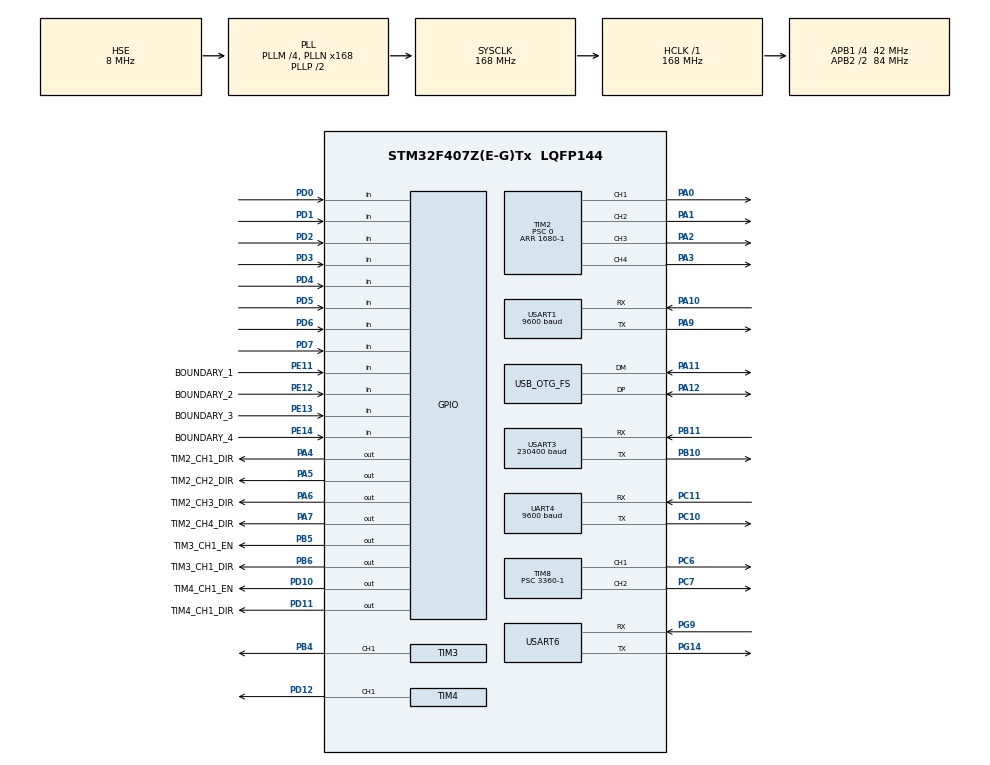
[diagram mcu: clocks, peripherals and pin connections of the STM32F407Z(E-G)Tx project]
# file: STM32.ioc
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Dma.Request0=USART3_RX
Dma.Request1=UART4_RX
Dma.UART4_RX.1.Direction=DMA_PERIPH_TO_MEMORY
Dma.UART4_RX.1.FIFOMode=DMA_FIFOMODE_DISABLE
Dma.UART4_RX.1.Instance=DMA1_Stream2
Dma.UART4_RX.1.MemDataAlignment=DMA_MDATAALIGN_BYTE
Dma.UART4_RX.1.MemInc=DMA_MINC_ENABLE
Dma.UART4_RX.1.Mode=DMA_NORMAL
Dma.UART4_RX.1.PeriphDataAlignment=DMA_PDATAALIGN_BYTE
Dma.UART4_RX.1.PeriphInc=DMA_PINC_DISABLE
Dma.UART4_RX.1.Priority=DMA_PRIORITY_LOW
Dma.USART3_RX.0.Direction=DMA_PERIPH_TO_MEMORY
Dma.USART3_RX.0.FIFOMode=DMA_FIFOMODE_DISABLE
Dma.USART3_RX.0.Instance=DMA1_Stream1
Dma.USART3_RX.0.MemDataAlignment=DMA_MDATAALIGN_BYTE
Dma.USART3_RX.0.MemInc=DMA_MINC_ENABLE
Dma.USART3_RX.0.Mode=DMA_NORMAL
Dma.USART3_RX.0.PeriphDataAlignment=DMA_PDATAALIGN_BYTE
Dma.USART3_RX.0.PeriphInc=DMA_PINC_DISABLE
Dma.USART3_RX.0.Priority=DMA_PRIORITY_LOW
FREERTOS.Tasks01=uartRxTask,40,1024,appUartRxTask,Default,NULL,Dynamic,NULL,NULL;uartTxTask,40,1024,appUartTxTask,Default,NULL,Dynamic,NULL,NULL;cmdHandleTask,24,1024,appCmdHandleTask,Default,NULL,Dynamic,NULL,NULL;statusTask,8,1024,appStatusTask,Default,NULL,Dynamic,NULL,NULL;sensorUploadTas,16,1024,appSensorUploadTask,Default,NULL,Dynamic,NULL,NULL
FREERTOS.configTOTAL_HEAP_SIZE=30000
FREERTOS.configUSE_MALLOC_FAILED_HOOK=1
FREERTOS.configUSE_STATS_FORMATTING_FUNCTIONS=1
Mcu.Family=STM32F4
Mcu.Name=STM32F407Z(E-G)Tx
Mcu.Package=LQFP144
NVIC.DMA1_Stream1_IRQn=true\:5\:0\:false\:false\:true\:true\:false\:true\:true
NVIC.DMA1_Stream2_IRQn=true\:5\:0\:false\:false\:true\:true\:false\:true\:true
NVIC.OTG_FS_IRQn=true\:5\:0\:false\:false\:true\:true\:false\:true\:true
NVIC.PriorityGroup=NVIC_PRIORITYGROUP_4
NVIC.TIM6_DAC_IRQn=true\:15\:0\:false\:false\:true\:false\:false\:true\:true
NVIC.TimeBase=TIM6_DAC_IRQn
NVIC.TimeBaseIP=TIM6
NVIC.UART4_IRQn=true\:5\:0\:false\:false\:true\:true\:true\:true\:true
NVIC.USART3_IRQn=true\:5\:0\:false\:false\:true\:true\:true\:true\:true
PA0-WKUP.Signal=S_TIM2_CH1_ETR
PA1.Signal=S_TIM2_CH2
PA10.Mode=Asynchronous
PA10.Signal=USART1_RX
PA11.Mode=Device_Only
PA11.Signal=USB_OTG_FS_DM
PA12.Mode=Device_Only
PA12.Signal=USB_OTG_FS_DP
PA13.Mode=Serial_Wire
PA13.Signal=SYS_JTMS-SWDIO
PA14.Mode=Serial_Wire
PA14.Signal=SYS_JTCK-SWCLK
PA2.Signal=S_TIM2_CH3
PA3.Signal=S_TIM2_CH4
PA4.GPIO_Label=TIM2_CH1_DIR
PA4.Signal=GPIO_Output
PA5.GPIO_Label=TIM2_CH2_DIR
PA5.Signal=GPIO_Output
PA6.GPIO_Label=TIM2_CH3_DIR
PA6.Signal=GPIO_Output
PA7.GPIO_Label=TIM2_CH4_DIR
PA7.Signal=GPIO_Output
PA9.Mode=Asynchronous
PA9.Signal=USART1_TX
PB10.Mode=Asynchronous
PB10.Signal=USART3_TX
PB11.Mode=Asynchronous
PB11.Signal=USART3_RX
PB4.Signal=S_TIM3_CH1
PB5.GPIO_Label=TIM3_CH1_EN
PB5.Signal=GPIO_Output
PB6.GPIO_Label=TIM3_CH1_DIR
PB6.Signal=GPIO_Output
PC10.Mode=Asynchronous
PC10.Signal=UART4_TX
PC11.Mode=Asynchronous
PC11.Signal=UART4_RX
PC14-OSC32_IN.Mode=LSE-External-Oscillator
PC14-OSC32_IN.Signal=RCC_OSC32_IN
PC15-OSC32_OUT.Mode=LSE-External-Oscillator
PC15-OSC32_OUT.Signal=RCC_OSC32_OUT
PC6.Signal=S_TIM8_CH1
PC7.Signal=S_TIM8_CH2
PD0.Signal=GPIO_Input
PD1.Signal=GPIO_Input
PD10.GPIO_Label=TIM4_CH1_EN
PD10.Signal=GPIO_Output
PD11.GPIO_Label=TIM4_CH1_DIR
PD11.Signal=GPIO_Output
PD12.Signal=S_TIM4_CH1
PD2.Signal=GPIO_Input
PD3.Signal=GPIO_Input
PD4.Signal=GPIO_Input
PD5.Signal=GPIO_Input
PD6.Signal=GPIO_Input
PD7.Signal=GPIO_Input
PE11.GPIO_Label=BOUNDARY_1
PE11.Signal=GPIO_Input
PE12.GPIO_Label=BOUNDARY_2
PE12.Signal=GPIO_Input
PE13.GPIO_Label=BOUNDARY_3
PE13.Signal=GPIO_Input
PE14.GPIO_Label=BOUNDARY_4
PE14.Signal=GPIO_Input
PG14.Mode=Asynchronous
PG14.Signal=USART6_TX
PG9.Mode=Asynchronous
PG9.Signal=USART6_RX
PH0-OSC_IN.Mode=HSE-External-Oscillator
PH0-OSC_IN.Signal=RCC_OSC_IN
PH1-OSC_OUT.Mode=HSE-External-Oscillator
PH1-OSC_OUT.Signal=RCC_OSC_OUT
ProjectManager.HeapSize=0x200
ProjectManager.StackSize=0x400
ProjectManager.TargetToolchain=CMake
RCC.48MHZClocksFreq_Value=48000000
RCC.AHBFreq_Value=168000000
RCC.APB1CLKDivider=RCC_HCLK_DIV4
RCC.APB1Freq_Value=42000000
RCC.APB1TimFreq_Value=84000000
RCC.APB2CLKDivider=RCC_HCLK_DIV2
RCC.APB2Freq_Value=84000000
RCC.APB2TimFreq_Value=168000000
RCC.CortexFreq_Value=168000000
RCC.HCLKFreq_Value=168000000
RCC.HSE_VALUE=8000000
RCC.HSI_VALUE=16000000
RCC.PLLM=4
RCC.PLLN=168
RCC.PLLQ=7
RCC.SYSCLKFreq_VALUE=168000000
RCC.SYSCLKSource=RCC_SYSCLKSOURCE_PLLCLK
RCC.VCOOutputFreq_Value=336000000
SH.S_TIM2_CH1_ETR.0=TIM2_CH1,PWM Generation1 CH1
SH.S_TIM2_CH2.0=TIM2_CH2,PWM Generation2 CH2
SH.S_TIM2_CH3.0=TIM2_CH3,PWM Generation3 CH3
SH.S_TIM2_CH4.0=TIM2_CH4,PWM Generation4 CH4
SH.S_TIM3_CH1.0=TIM3_CH1,PWM Generation1 CH1
SH.S_TIM4_CH1.0=TIM4_CH1,PWM Generation1 CH1
SH.S_TIM8_CH1.0=TIM8_CH1,PWM Generation1 CH1
SH.S_TIM8_CH2.0=TIM8_CH2,PWM Generation2 CH2
TIM2.Channel-PWM\ Generation1\ CH1=TIM_CHANNEL_1
TIM2.Channel-PWM\ Generation2\ CH2=TIM_CHANNEL_2
TIM2.Channel-PWM\ Generation3\ CH3=TIM_CHANNEL_3
TIM2.Channel-PWM\ Generation4\ CH4=TIM_CHANNEL_4
TIM2.Period=1680-1
TIM2.Prescaler=0
TIM3.Channel-PWM\ Generation1\ CH1=TIM_CHANNEL_1
TIM3.Period=16800-1
TIM3.Prescaler=0
TIM3.Pulse-PWM\ Generation1\ CH1=8400
TIM4.Channel-PWM\ Generation1\ CH1=TIM_CHANNEL_1
TIM4.Period=16800-1
TIM4.Prescaler=0
TIM4.Pulse-PWM\ Generation1\ CH1=8400
TIM8.Channel-PWM\ Generation1\ CH1=TIM_CHANNEL_1
TIM8.Channel-PWM\ Generation2\ CH2=TIM_CHANNEL_2
TIM8.Period=1000-1
TIM8.Prescaler=3360-1
UART4.BaudRate=9600
UART4.VirtualMode=Asynchronous
USART1.BaudRate=9600
USART1.VirtualMode=VM_ASYNC
USART3.BaudRate=230400
USART3.VirtualMode=VM_ASYNC
USART6.VirtualMode=VM_ASYNC
USB_DEVICE.CLASS_NAME_FS=CDC
USB_DEVICE.VirtualMode-CDC_FS=Cdc
USB_DEVICE.VirtualModeFS=Cdc_FS
USB_OTG_FS.VirtualMode=Device_Only
VP_FREERTOS_VS_CMSIS_V2.Mode=CMSIS_V2
VP_SYS_VS_tim6.Mode=TIM6
VP_TIM2_VS_ClockSourceINT.Mode=Internal
VP_TIM3_VS_ClockSourceINT.Mode=Internal
VP_TIM4_VS_ClockSourceINT.Mode=Internal
VP_TIM8_VS_ClockSourceINT.Mode=Internal
VP_USB_DEVICE_VS_USB_DEVICE_CDC_FS.Mode=CDC_FS
board=custom

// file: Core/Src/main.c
/* USER CODE BEGIN Header */
/**
  ******************************************************************************
  * @file           : main.c
  * @brief          : Main program body
  ******************************************************************************
  * @attention
  *
  * Copyright (c) 2026 STMicroelectronics.
  * All rights reserved.
  *
  * This software is licensed under terms that can be found in the LICENSE file
  * in the root directory of this software component.
  * If no LICENSE file comes with this software, it is provided AS-IS.
  *
  ******************************************************************************
  */
/* USER CODE END Header */
#include "main.h"
#include "cmsis_os.h"
#include "dma.h"
#include "tim.h"
#include "usart.h"
#include "usb_device.h"
#include "gpio.h"

/* USER CODE BEGIN Includes */
#include "motor.h"
#include "safety_edge.h"
#include "proximity_switch.h"
#include <stdint.h>
#include <stdio.h>
#include "pressure_sensor.h"
#include "usbd_cdc_if.h"
#include "motor_brush.h"
/* USER CODE END Includes */

void SystemClock_Config(void);
void MX_FREERTOS_Init(void);
/* USER CODE BEGIN PFP */
void app_on_cdc_frame_timeout_isr(void);

/* USER CODE END PFP */

int main(void)
{

  /* MCU Configuration--------------------------------------------------------*/

  /* Reset of all peripherals, Initializes the Flash interface and the Systick. */
  HAL_Init();

  /* Configure the system clock */
  SystemClock_Config();

  /* Initialize all configured peripherals */
  MX_GPIO_Init();
  MX_DMA_Init();
  MX_TIM2_Init();
  MX_TIM8_Init();
  MX_TIM3_Init();
  MX_TIM4_Init();
  MX_USART1_UART_Init();
  MX_USART3_UART_Init();
  MX_UART4_Init();
  MX_USART6_UART_Init();
  /* USER CODE BEGIN 2 */
  Motor_BrushStart(0.0f);

  /* USER CODE END 2 */

  /* Init scheduler */
  osKernelInitialize();  /* Call init function for freertos objects (in cmsis_os2.c) */
  MX_FREERTOS_Init();

  /* Start scheduler */
  osKernelStart();

  /* We should never get here as control is now taken by the scheduler */

  /* Infinite loop */
  /* USER CODE BEGIN WHILE */
  while (1)
  {
    // if(1)
    // {
    //     uint8_t edge_states = SafetyEdge_ReadAll();
    //     uint8_t proximity_states = ProximitySwitch_ReadAll();
    //     int32_t weight = 0;
    //     PressureSensor_ReadWeight(&weight);

    //     sprintf(buffer, "Edge states: %02X, Proximity states: %02X, Weight: %ld\n", edge_states, proximity_states, weight);
    //     HAL_UART_Transmit(&huart3, (uint8_t *)buffer, (uint16_t)strlen(buffer), HAL_MAX_DELAY);
    //     HAL_Delay(1000);
    // }

    // if(1)
    // {
    //   // 机体移动
    //   Motor_MoveUp(0.8);
    //   HAL_Delay(1000);
    //   Motor_MoveDown(0.8);
    //   HAL_Delay(1000);
    //   Motor_MoveLeft(0.8);
    //   HAL_Delay(1000);
    //   Motor_MoveRight(0.8);
    //   HAL_Delay(1000);
    //   Motor_StopMove();
    //   HAL_Delay(1000);
    // }
    // if(1)
    // {
    //   // 履带升出/下降执行机构
    //   Motor_CrawlerLiftUp(0.8);
    //   HAL_Delay(1000);
    //   Motor_CrawlerLiftDown(0.8);
    //   HAL_Delay(1000);

    // }

    // if(1)
    // {
    //   // 球头锁定执行机构
    //   Motor_BallHeadLock( 0.8);
    //   HAL_Delay(1000);
    //   Motor_BallHeadLock( 0.8);
    //   HAL_Delay(1000);
    //   Motor_BallHeadStop();
    //   HAL_Delay(1000);
    // }

    // if(1)
    // {
    //   // 滚刷
    //   Motor_BrushStart(0.8);
    //   HAL_Delay(1000);
    //   Motor_BrushStop();
    //   HAL_Delay(1000);
    // }

    /* USER CODE END WHILE */

  }
}

void SystemClock_Config(void)
{
  RCC_OscInitTypeDef RCC_OscInitStruct = {0};
  RCC_ClkInitTypeDef RCC_ClkInitStruct = {0};

  /** Configure the main internal regulator output voltage
  */
  __HAL_RCC_PWR_CLK_ENABLE();
  __HAL_PWR_VOLTAGESCALING_CONFIG(PWR_REGULATOR_VOLTAGE_SCALE1);

  /** Initializes the RCC Oscillators according to the specified parameters
  * in the RCC_OscInitTypeDef structure.
  */
  RCC_OscInitStruct.OscillatorType = RCC_OSCILLATORTYPE_HSE;
  RCC_OscInitStruct.HSEState = RCC_HSE_ON;
  RCC_OscInitStruct.PLL.PLLState = RCC_PLL_ON;
  RCC_OscInitStruct.PLL.PLLSource = RCC_PLLSOURCE_HSE;
  RCC_OscInitStruct.PLL.PLLM = 4;
  RCC_OscInitStruct.PLL.PLLN = 168;
  RCC_OscInitStruct.PLL.PLLP = RCC_PLLP_DIV2;
  RCC_OscInitStruct.PLL.PLLQ = 7;
  if (HAL_RCC_OscConfig(&RCC_OscInitStruct) != HAL_OK)
  {
    Error_Handler();
  }

  /** Initializes the CPU, AHB and APB buses clocks
  */
  RCC_ClkInitStruct.ClockType = RCC_CLOCKTYPE_HCLK|RCC_CLOCKTYPE_SYSCLK
                              |RCC_CLOCKTYPE_PCLK1|RCC_CLOCKTYPE_PCLK2;
  RCC_ClkInitStruct.SYSCLKSource = RCC_SYSCLKSOURCE_PLLCLK;
  RCC_ClkInitStruct.AHBCLKDivider = RCC_SYSCLK_DIV1;
  RCC_ClkInitStruct.APB1CLKDivider = RCC_HCLK_DIV4;
  RCC_ClkInitStruct.APB2CLKDivider = RCC_HCLK_DIV2;

  if (HAL_RCC_ClockConfig(&RCC_ClkInitStruct, FLASH_LATENCY_5) != HAL_OK)
  {
    Error_Handler();
  }
}

void HAL_TIM_PeriodElapsedCallback(TIM_HandleTypeDef *htim)
{
  if (htim->Instance == TIM6)
  {
    HAL_IncTick();
  }
}

void Error_Handler(void)
{
  __disable_irq();
  while (1)
  {
  }
}

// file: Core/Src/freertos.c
/* USER CODE BEGIN Header */
/**
  ******************************************************************************
  * File Name          : freertos.c
  * Description        : Code for freertos applications
  ******************************************************************************
  * @attention
  *
  * Copyright (c) 2026 STMicroelectronics.
  * All rights reserved.
  *
  * This software is licensed under terms that can be found in the LICENSE file
  * in the root directory of this software component.
  * If no LICENSE file comes with this software, it is provided AS-IS.
  *
  ******************************************************************************
  */
/* USER CODE END Header */

#include "FreeRTOS.h"
#include "task.h"
#include "main.h"
#include "cmsis_os.h"

/* USER CODE BEGIN Includes */
#include <stdbool.h>
#include <stddef.h>
#include <stdint.h>
#include <stdio.h>
#include <string.h>

#include "queue.h"
#include "tim.h"
#include "app_crc16.h"
#include "app_protocol_types.h"
#include "app_protocol_codec.h"
#include "app_cmd_handle.h"

#include "pressure_sensor.h"
#include "safety_edge.h"
#include "proximity_switch.h"
#include "usart.h"
#include "imu_jy901s.h"

/* USER CODE END Includes */

/* USER CODE BEGIN PTD */
extern DMA_HandleTypeDef hdma_usart3_rx;
extern DMA_HandleTypeDef hdma_uart4_rx;

/* USER CODE END PTD */

/* USER CODE BEGIN PD */
#define APP_PROTO_CRC16_SIZE        2U
#define APP_PROTO_FRAME_TAIL_SIZE   (APP_PROTO_CRC16_SIZE + 1U)

/* USER CODE END PD */

/* USER CODE BEGIN Variables */
static QueueHandle_t cmdQueue;
static QueueHandle_t replyQueue;

static TaskHandle_t uartRxTaskNotifyHandle;

static uint8_t g_imuRxBuffer[128];

/* USER CODE END Variables */
/* Definitions for uartRxTask */
osThreadId_t uartRxTaskHandle;
const osThreadAttr_t uartRxTask_attributes = {
  .name = "uartRxTask",
  .stack_size = 1024 * 4,
  .priority = (osPriority_t) osPriorityHigh,
};
/* Definitions for uartTxTask */
osThreadId_t uartTxTaskHandle;
const osThreadAttr_t uartTxTask_attributes = {
  .name = "uartTxTask",
  .stack_size = 1024 * 4,
  .priority = (osPriority_t) osPriorityHigh,
};
/* Definitions for cmdHandleTask */
osThreadId_t cmdHandleTaskHandle;
const osThreadAttr_t cmdHandleTask_attributes = {
  .name = "cmdHandleTask",
  .stack_size = 1024 * 4,
  .priority = (osPriority_t) osPriorityNormal,
};
/* Definitions for statusTask */
osThreadId_t statusTaskHandle;
const osThreadAttr_t statusTask_attributes = {
  .name = "statusTask",
  .stack_size = 1024 * 4,
  .priority = (osPriority_t) osPriorityLow,
};
/* Definitions for sensorUploadTas */
osThreadId_t sensorUploadTasHandle;
const osThreadAttr_t sensorUploadTas_attributes = {
  .name = "sensorUploadTas",
  .stack_size = 1024 * 4,
  .priority = (osPriority_t) osPriorityBelowNormal,
};

/* USER CODE BEGIN FunctionPrototypes */
static bool app_msg_add_crc16_and_lf(uint8_t *buf, uint32_t bufSize, uint32_t* finnalLen);
static bool app_cmd_msg_send_to_queue(app_cmd_msg_t *cmdMsg);
static bool app_reply_msg_send_to_queue(app_reply_msg_t *replyMsg, const char *owner);

/* USER CODE END FunctionPrototypes */

void appUartRxTask(void *argument);
void appUartTxTask(void *argument);
void appCmdHandleTask(void *argument);
void appStatusTask(void *argument);
void appSensorUploadTask(void *argument);

extern void MX_USB_DEVICE_Init(void);
void MX_FREERTOS_Init(void); /* (MISRA C 2004 rule 8.1) */

/* Hook prototypes */
void vApplicationMallocFailedHook(void);

/* USER CODE BEGIN 5 */
void vApplicationMallocFailedHook(void)
{
   /* vApplicationMallocFailedHook() will only be called if
   configUSE_MALLOC_FAILED_HOOK is set to 1 in FreeRTOSConfig.h. It is a hook
   function that will get called if a call to pvPortMalloc() fails.
   pvPortMalloc() is called internally by the kernel whenever a task, queue,
   timer or semaphore is created. It is also called by various parts of the
   demo application. If heap_1.c or heap_2.c are used, then the size of the
   heap available to pvPortMalloc() is defined by configTOTAL_HEAP_SIZE in
   FreeRTOSConfig.h, and the xPortGetFreeHeapSize() API function can be used
   to query the size of free heap space that remains (although it does not
   provide information on how the remaining heap might be fragmented). */
}
/* USER CODE END 5 */

void MX_FREERTOS_Init(void) {

  /* USER CODE BEGIN RTOS_QUEUES */
  cmdQueue = xQueueCreate(8U, sizeof(app_cmd_msg_t));
  replyQueue = xQueueCreate(8U, sizeof(app_reply_msg_t));

  /* USER CODE END RTOS_QUEUES */

  /* Create the thread(s) */
  /* creation of uartRxTask */
  uartRxTaskHandle = osThreadNew(appUartRxTask, NULL, &uartRxTask_attributes);

  /* creation of uartTxTask */
  uartTxTaskHandle = osThreadNew(appUartTxTask, NULL, &uartTxTask_attributes);

  /* creation of cmdHandleTask */
  cmdHandleTaskHandle = osThreadNew(appCmdHandleTask, NULL, &cmdHandleTask_attributes);

  /* creation of statusTask */
  statusTaskHandle = osThreadNew(appStatusTask, NULL, &statusTask_attributes);

  /* creation of sensorUploadTas */
  sensorUploadTasHandle = osThreadNew(appSensorUploadTask, NULL, &sensorUploadTas_attributes);

}

void appUartRxTask(void *argument)
{
  /* init code for USB_DEVICE */
  MX_USB_DEVICE_Init();
  /* USER CODE BEGIN appUartRxTask */
  app_cmd_msg_t cmdMsg;
  uint8_t frameBuf[1024U];
  uint8_t uartRecvBuf[1024U];
  uint32_t notifyValue = 0U;

  uartRxTaskNotifyHandle = xTaskGetCurrentTaskHandle();

  HAL_UARTEx_ReceiveToIdle_DMA(&huart3, uartRecvBuf, sizeof(uartRecvBuf) - 1U);
  __HAL_DMA_DISABLE_IT(&hdma_usart3_rx, DMA_IT_HT);  // 禁止半传输中断，避免干扰IDLE中断处理
  /* Infinite loop */
  for(;;)
  {
    if (xTaskNotifyWait(0U, UINT32_MAX, &notifyValue, portMAX_DELAY) == pdTRUE)
    {
      // 1. 从DMA接收缓冲区复制数据到帧缓冲区，并添加字符串结束符
      memcpy(frameBuf, uartRecvBuf, notifyValue);
      frameBuf[notifyValue] = '\0';

      app_log_debug("appUartRxTask -> recv: %s", frameBuf);

      // 2. 重新启动DMA接收
      HAL_UARTEx_ReceiveToIdle_DMA(&huart3, uartRecvBuf, sizeof(uartRecvBuf) - 1U);

      // 3. 处理接收到的数据
      if (notifyValue > 0U)
      {
        // 1. 帧格式初步校验：至少要有CRC16和帧尾\n
        if ((notifyValue <= APP_PROTO_FRAME_TAIL_SIZE) || (frameBuf[notifyValue - 1U] != (uint8_t)'\n'))
        {
          app_log_debug("appUartRxTask -> Frame format error");
          continue;
        }
        app_log_debug("appUartRxTask -> Frame format OK");
        // 2. CRC16校验
        uint32_t jsonLen = notifyValue - APP_PROTO_FRAME_TAIL_SIZE;
        uint16_t recvCrc = (uint16_t)frameBuf[jsonLen]              // 获取接收到的CRC16值（小端排序）
                         | ((uint16_t)frameBuf[jsonLen + 1U] << 8U);
        uint16_t calcCrc = app_crc16_compute(frameBuf, (size_t)jsonLen);
        if (recvCrc != calcCrc)
        {
          app_log_debug("appUartRxTask -> CRC error");
          continue;
        }
        app_log_debug("appUartRxTask -> CRC OK");
        // 3. 解析并发送到命令处理队列
        memset(&cmdMsg, 0, sizeof(cmdMsg));
        if(app_protocol_decode_cmd_msg((const char *)frameBuf, &cmdMsg) != 0)
        {
          app_log_debug("appUartRxTask -> Decode error");
          continue;
        }
        app_log_debug("appUartRxTask -> Decode OK");

        if (app_cmd_msg_send_to_queue(&cmdMsg))
        {
          app_log_debug("appUartRxTask -> Cmd sent to queue");
        }
      }
    }
  }

  osDelay(pdMS_TO_TICKS(10));
  /* USER CODE END appUartRxTask */
}

void appUartTxTask(void *argument)
{
  /* USER CODE BEGIN appUartTxTask */
  app_reply_msg_t replyMsg;

  uint8_t uartSendBuf[1024U];
  uint32_t finnalDataLen = 0;

  /* Infinite loop */
  for(;;)
  {
    if (xQueueReceive(replyQueue, &replyMsg, portMAX_DELAY) == pdTRUE)
    {
      app_log_debug("appUartTxTask -> Received reply from queue");
      if (app_protocol_encode_reply_msg(&replyMsg, (char *)uartSendBuf, sizeof(uartSendBuf)) == 0)
      {
        app_log_debug("appUartTxTask -> Reply encode OK");

        if(!app_msg_add_crc16_and_lf(uartSendBuf, sizeof(uartSendBuf), &finnalDataLen))
        {
          app_log_debug("appUartTxTask -> Failed to add CRC16 and LF");
          app_protocol_free_reply_msg(&replyMsg);
          memset(&replyMsg, 0, sizeof(replyMsg));
          continue;
        }
        HAL_UART_Transmit(&huart3, (uint8_t *)uartSendBuf, finnalDataLen, HAL_MAX_DELAY);
        app_log_debug("appUartTxTask -> Sent %lu bytes", (unsigned long)finnalDataLen);
      }
      else
      {
        app_log_debug("appUartTxTask -> Reply encode error");
      }

      app_protocol_free_reply_msg(&replyMsg);
      memset(&replyMsg, 0, sizeof(replyMsg));
    }
  }

    osDelay(pdMS_TO_TICKS(10));
  /* USER CODE END appUartTxTask */
}

void appCmdHandleTask(void *argument)
{
  /* USER CODE BEGIN appCmdHandleTask */
  app_cmd_msg_t cmdMsg;
  app_reply_msg_t replyMsg;
  bool replyReady = false;

  /* Infinite loop */
  for(;;)
  {
    if (xQueueReceive(cmdQueue, &cmdMsg, portMAX_DELAY) == pdTRUE)
    {
      memset(&replyMsg, 0, sizeof(replyMsg));
      replyReady = false;

      switch (cmdMsg.msg_type_id) {
        case APP_MSG_TYPE_ID_CMD_MOVE_LR:
          replyReady = app_move_lr_handle(&cmdMsg, &replyMsg) || (replyMsg.data_json != NULL);
          app_log_debug("appCmdHandleTask -> Handled MOVE_LR command");
          break;
        case APP_MSG_TYPE_ID_CMD_MOVE_UD:
          replyReady = app_move_ud_handle(&cmdMsg, &replyMsg) || (replyMsg.data_json != NULL);
          app_log_debug("appCmdHandleTask -> Handled MOVE_UD command");
          break;
        case APP_MSG_TYPE_ID_CMD_MOVE_XY:
          replyReady = app_move_xy_handle(&cmdMsg, &replyMsg) || (replyMsg.data_json != NULL);
          app_log_debug("appCmdHandleTask -> Handled MOVE_XY command");
          break;
        case APP_MSG_TYPE_ID_CMD_TRACK_SWITCH:
          replyReady = app_track_switch_handle(&cmdMsg, &replyMsg) || (replyMsg.data_json != NULL);
          app_log_debug("appCmdHandleTask -> Handled TRACK_SWITCH command");
          break;
        case APP_MSG_TYPE_ID_CMD_BALL_LOCK:
          replyReady = app_ball_lock_handle(&cmdMsg, &replyMsg) || (replyMsg.data_json != NULL);
          app_log_debug("appCmdHandleTask -> Handled BALL_LOCK command");
          break;
        case APP_MSG_TYPE_ID_CMD_BRUSH_CONTROL:
          replyReady = app_brush_control_handle(&cmdMsg, &replyMsg) || (replyMsg.data_json != NULL);
          app_log_debug("appCmdHandleTask -> Handled BRUSH_CONTROL command");
          break;
        case APP_MSG_TYPE_ID_CMD_QUERY_STATUS:
          replyReady = app_query_device_status_handle(&replyMsg) || (replyMsg.data_json != NULL);
          app_log_debug("appCmdHandleTask -> Handled QUERY_STATUS command");
          break;
        case APP_MSG_TYPE_ID_CMD_QUERY_PRESSURE:
          replyReady = app_query_pressure_handle(&replyMsg) || (replyMsg.data_json != NULL);
          app_log_debug("appCmdHandleTask -> Handled QUERY_PRESSURE command");
          break;
        default:
          replyReady = create_cmd_reply_msg(&cmdMsg,
                                            &replyMsg,
                                            cmdMsg.msg_type_id | 0x10U,
                                            "failed",
                                            APP_ERROR_CODE_INVALID_FORMAT,
                                            "Unknown command");
          replyReady = replyReady || (replyMsg.data_json != NULL);
          app_log_debug("appCmdHandleTask -> Unknown command: %lu", (unsigned long)cmdMsg.msg_type_id);
          break;
      }

      if (replyReady && app_reply_msg_send_to_queue(&replyMsg, "appCmdHandleTask"))
      {
        app_log_debug("appCmdHandleTask -> Reply sent to queue");
      }

      app_protocol_free_cmd_msg(&cmdMsg);
      memset(&cmdMsg, 0, sizeof(cmdMsg));
      app_log_debug("appCmdHandleTask -> Freed command message");
    }
    osDelay(pdMS_TO_TICKS(10));
  }
  /* USER CODE END appCmdHandleTask */
}

void appStatusTask(void *argument)
{
  /* USER CODE BEGIN appStatusTask */
  PressureSensor_Init();
  IMU_JY901S_Init();

  HAL_UARTEx_ReceiveToIdle_DMA(&huart4, g_imuRxBuffer, sizeof(g_imuRxBuffer) - 1U);
  __HAL_DMA_DISABLE_IT(&hdma_uart4_rx, DMA_IT_HT);  // 禁止半传输中断，避免干扰IDLE中断处理
  /* Infinite loop */
  for(;;)
  {
    IMU_JY901S_Process();
    osDelay(1);
  }
  /* USER CODE END appStatusTask */
}

void appSensorUploadTask(void *argument)
{
  /* USER CODE BEGIN appSensorUploadTask */
  app_reply_msg_t imuMsg;
  app_reply_msg_t pressureMsg;
  app_reply_msg_t safetyEdgeMsg;
  app_reply_msg_t deviceStatusMsg;

  /* Infinite loop */
  for(;;)
  {
    // 1. IMU
    memset(&imuMsg, 0, sizeof(imuMsg));
    if(app_query_imu_handle(&imuMsg))
    {
      if (app_reply_msg_send_to_queue(&imuMsg, "appStatusTask"))
      {
        app_log_debug("appStatusTask -> IMU status sent to queue");
      }
    }
    else
    {
      app_log_debug("appStatusTask -> Failed to create IMU reply message");
    }

    // // 2. 压力传感器
    // memset(&pressureMsg, 0, sizeof(pressureMsg));
    // if(app_query_pressure_handle(&pressureMsg))
    // {
    //   if (app_reply_msg_send_to_queue(&pressureMsg, "appStatusTask"))
    //   {
    //     app_log_debug("appStatusTask -> Pressure status sent to queue");
    //   }
    // }
    // else
    // {
    //   app_log_debug("appStatusTask -> Failed to create pressure reply message");
    // }

    // // 3. 安全触边  --  事件触发
    // bool edgeDetect = false;
    // memset(&safetyEdgeMsg, 0, sizeof(safetyEdgeMsg));
    // if(app_query_safety_edge_handle(&safetyEdgeMsg, &edgeDetect))
    // {
    //   if (edgeDetect)
    //   {
    //     if(app_reply_msg_send_to_queue(&safetyEdgeMsg, "appStatusTask"))
    //     {
    //       app_log_debug("appStatusTask -> Safety edge status sent to queue");
    //     }
    //   }
    // }
    // else
    // {
    //   app_log_debug("appStatusTask -> Failed to create safety edge reply message");
    // }

    // // 4. 设备上报状态
    // memset(&deviceStatusMsg, 0, sizeof(deviceStatusMsg));
    // if(app_query_device_status_handle(&deviceStatusMsg))
    // {
    //   if (app_reply_msg_send_to_queue(&deviceStatusMsg, "appStatusTask"))
    //   {
    //     app_log_debug("appStatusTask -> Device status sent to queue");
    //   }
    // }
    // else
    // {
    //   app_log_debug("appStatusTask -> Failed to create device status reply message");
    // }

    osDelay(pdMS_TO_TICKS(100));
  }
  /* USER CODE END appSensorUploadTask */
}

/* USER CODE BEGIN Application */

void HAL_UARTEx_RxEventCallback(UART_HandleTypeDef *huart, uint16_t Size)
{
  if (huart->Instance == USART3)
  {
    BaseType_t xHigherPriorityTaskWoken = pdFALSE;

    if (uartRxTaskNotifyHandle != NULL)
    {
      (void)xTaskNotifyFromISR(uartRxTaskNotifyHandle,
                               (uint32_t)Size,
                               eSetValueWithOverwrite,
                               &xHigherPriorityTaskWoken);
      portYIELD_FROM_ISR(xHigherPriorityTaskWoken);
    }
  }
  else if (huart->Instance == UART4)
  {
    if (Size > 0U)
    {
      (void)IMU_JY901S_Feed(g_imuRxBuffer, Size);
    }

    (void)HAL_UARTEx_ReceiveToIdle_DMA(&huart4, g_imuRxBuffer, sizeof(g_imuRxBuffer) - 1U);
    __HAL_DMA_DISABLE_IT(&hdma_uart4_rx, DMA_IT_HT);
  }
}

static bool app_msg_add_crc16_and_lf(uint8_t *buf, uint32_t bufSize, uint32_t* finnalLen)
{
  uint32_t msgLen = strlen((char *)buf);

  if (!buf || bufSize < APP_PROTO_CRC16_SIZE || msgLen + APP_PROTO_FRAME_TAIL_SIZE > bufSize)
    return false;

  uint16_t crc = app_crc16_compute((const uint8_t *)buf, msgLen);
  buf[msgLen] = (uint8_t)(crc & 0xFFU);
  buf[msgLen + 1U] = (uint8_t)((crc >> 8U) & 0xFFU);
  buf[msgLen + 2U] = '\n';

  if (finnalLen != NULL)
  {
    *finnalLen = (uint32_t)(msgLen + APP_PROTO_FRAME_TAIL_SIZE);
  }
  return true;
}

static bool app_cmd_msg_send_to_queue(app_cmd_msg_t *cmdMsg)
{
  if (xQueueSend(cmdQueue, cmdMsg, 0U) != pdPASS)
  {
    app_log_debug("appUartRxTask -> Cmd queue full");
    app_protocol_free_cmd_msg(cmdMsg);
    memset(cmdMsg, 0, sizeof(*cmdMsg));
    return false;
  }

  memset(cmdMsg, 0, sizeof(*cmdMsg));
  return true;
}

static bool app_reply_msg_send_to_queue(app_reply_msg_t *replyMsg, const char *owner)
{
  if (xQueueSend(replyQueue, replyMsg, 0U) != pdPASS)
  {
    app_log_debug("%s -> Reply queue full", owner);
    app_protocol_free_reply_msg(replyMsg);
    memset(replyMsg, 0, sizeof(*replyMsg));
    return false;
  }

  memset(replyMsg, 0, sizeof(*replyMsg));
  return true;
}

/* USER CODE END Application */
